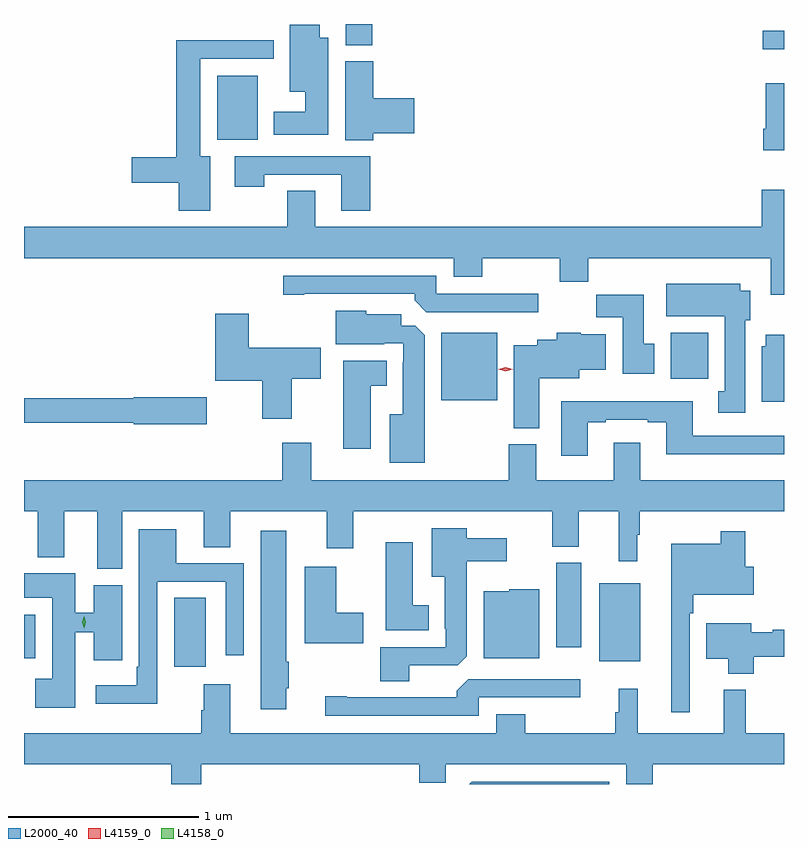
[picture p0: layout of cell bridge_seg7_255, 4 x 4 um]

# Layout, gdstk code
import gdstk
lib = gdstk.Library(unit=1e-6, precision=1e-09)
def R(c, l, rs):  # rectangles x0, y0, x1, y1
    for r in rs: c.add(gdstk.rectangle(r[:2], r[2:], *l))
def P(c, l, *ps):  # polygons
    for p in ps: c.add(gdstk.Polygon(p, *l))
L2000_40 = (2000, 40)
L4158_0 = (4158, 0)
L4159_0 = (4159, 0)

bridge_seg7_255 = lib.new_cell('bridge_seg7_255')
R(bridge_seg7_255, L2000_40, [(169.556,1033.098,169.723,1033.46), (171.794,1033.127,172.009,1033.537), (168.766,1033.142,168.826,1033.372), (171.566,1033.2,171.7,1033.644), (170.963,1034.501,171.256,1034.854), (172.169,1034.612,172.366,1034.854), (169.784,1035.872,169.996,1036.207), (172.653,1036.347,172.766,1036.444), (170.459,1036.369,170.6,1036.48)])
P(bridge_seg7_255, L2000_40, [(170.368,1036.408),(170.323,1036.408),(170.323,1036.477),(170.165,1036.477),(170.165,1036.124),(170.246,1036.124),(170.246,1036.018),(170.081,1036.018),(170.081,1035.896),(170.368,1035.896)],
  [(169.747,1035.784),(169.693,1035.784),(169.693,1036.296),(170.08,1036.296),(170.08,1036.394),(169.568,1036.394),(169.568,1035.779),(169.332,1035.779),(169.332,1035.644),(169.58,1035.644),(169.58,1035.498),(169.747,1035.498)],
  [(170.603,1035.905),(170.821,1035.905),(170.821,1036.088),(170.603,1036.088),(170.603,1036.284),(170.456,1036.284),(170.456,1035.868),(170.603,1035.868)],
  [(172.766,1036.168),(172.67,1036.168),(172.67,1035.928),(172.658,1035.928),(172.658,1035.816),(172.766,1035.816)],
  [(170.588,1035.783),(169.875,1035.783),(169.875,1035.624),(170.031,1035.624),(170.031,1035.687),(170.435,1035.687),(170.435,1035.498),(170.588,1035.498)],
  [(172.766,1035.607),(172.649,1035.607),(172.649,1035.412),(170.299,1035.412),(170.299,1035.602),(170.152,1035.602),(170.152,1035.412),(168.766,1035.412),(168.766,1035.248),(171.029,1035.248),(171.029,1035.149),(171.177,1035.149),(171.177,1035.248),(171.586,1035.248),(171.586,1035.124),(171.737,1035.124),(171.737,1035.248),(172.697,1035.248),(172.697,1035.054),(172.766,1035.054)],
  [(171.472,1035.06),(170.937,1035.06),(170.937,1035.156),(170.13,1035.156),(170.13,1035.055),(170.242,1035.055),(170.242,1035.06),(170.822,1035.06),(170.822,1035.026),(170.883,1034.964),(171.472,1034.964)],
  [(172.561,1034.922),(172.588,1034.922),(172.588,1035.076),(172.537,1035.076),(172.537,1035.112),(172.145,1035.112),(172.145,1034.942),(172.454,1034.942),(172.454,1034.546),(172.421,1034.546),(172.421,1034.433),(172.561,1034.433)],
  [(172.084,1034.796),(172.027,1034.796),(172.027,1035.054),(171.778,1035.054),(171.778,1034.936),(171.917,1034.936),(171.917,1034.64),(172.084,1034.64)],
  [(170.875,1034.843),(170.826,1034.892),(170.752,1034.892),(170.752,1034.953),(170.568,1034.953),(170.568,1034.971),(170.408,1034.971),(170.408,1034.795),(170.663,1034.795),(170.663,1034.799),(170.763,1034.799),(170.763,1034.699),(170.759,1034.699),(170.759,1034.425),(170.69,1034.425),(170.69,1034.171),(170.875,1034.171)],
  [(170.176,1034.614),(170.329,1034.614),(170.329,1034.776),(169.95,1034.776),(169.95,1034.956),(169.772,1034.956),(169.772,1034.603),(170.021,1034.603),(170.021,1034.403),(170.176,1034.403)],
  [(171.478,1034.615),(171.688,1034.615),(171.688,1034.66),(171.829,1034.66),(171.829,1034.848),(171.696,1034.848),(171.696,1034.854),(171.571,1034.854),(171.571,1034.818),(171.467,1034.818),(171.467,1034.788),(171.344,1034.788),(171.344,1034.353),(171.478,1034.353)],
  [(172.766,1034.845),(172.67,1034.845),(172.67,1034.784),(172.649,1034.784),(172.649,1034.492),(172.766,1034.492)],
  [(170.59,1034.576),(170.674,1034.576),(170.674,1034.707),(170.447,1034.707),(170.447,1034.244),(170.59,1034.244)],
  [(169.729,1034.516),(169.344,1034.516),(169.344,1034.51),(168.766,1034.51),(168.766,1034.382),(169.344,1034.382),(169.344,1034.374),(169.729,1034.374)],
  [(171.733,1034.385),(171.829,1034.385),(171.829,1034.397),(172.049,1034.397),(172.049,1034.385),(172.145,1034.385),(172.145,1034.216),(172.766,1034.216),(172.766,1034.313),(172.285,1034.313),(172.285,1034.494),(171.593,1034.494),(171.593,1034.208),(171.733,1034.208)],
  [(169.282,1033.916),(169.712,1033.916),(169.712,1033.726),(169.852,1033.726),(169.852,1033.916),(170.36,1033.916),(170.36,1033.722),(170.5,1033.722),(170.5,1033.916),(171.545,1033.916),(171.545,1033.728),(171.685,1033.728),(171.685,1033.916),(171.896,1033.916),(171.896,1033.653),(171.994,1033.653),(171.994,1033.793),(172.006,1033.793),(172.006,1033.916),(172.766,1033.916),(172.766,1034.08),(172.009,1034.08),(172.009,1034.275),(171.869,1034.275),(171.869,1034.08),(171.463,1034.08),(171.463,1034.268),(171.316,1034.268),(171.316,1034.08),(170.278,1034.08),(170.278,1034.275),(170.126,1034.275),(170.126,1034.08),(168.766,1034.08),(168.766,1033.916),(168.839,1033.916),(168.839,1033.673),(168.979,1033.673),(168.979,1033.916),(169.151,1033.916),(169.151,1033.612),(169.282,1033.612)],
  [(170.794,1033.104),(171.048,1033.104),(171.097,1033.153),(171.097,1033.652),(171.307,1033.652),(171.307,1033.774),(171.097,1033.774),(171.097,1033.825),(170.912,1033.825),(170.912,1033.571),(170.981,1033.571),(170.981,1033.297),(170.985,1033.297),(170.985,1033.2),(170.642,1033.2),(170.642,1033.021),(170.794,1033.021)],
  [(169.467,1033.545),(169.827,1033.545),(169.827,1033.158),(169.923,1033.158),(169.923,1033.641),(169.567,1033.641),(169.567,1033.822),(169.371,1033.822),(169.371,1033.096),(169.359,1033.096),(169.359,1033),(169.143,1033),(169.143,1032.902),(169.467,1032.902)],
  [(170.146,1032.985),(170.159,1032.985),(170.159,1033.124),(170.146,1033.124),(170.146,1033.813),(170.012,1033.813),(170.012,1032.873),(170.146,1032.873)],
  [(172.269,1033.379),(172.289,1033.379),(172.289,1033.475),(172.606,1033.475),(172.606,1033.623),(172.562,1033.623),(172.562,1033.81),(172.434,1033.81),(172.434,1033.744),(172.172,1033.744),(172.172,1032.858),(172.269,1032.858)],
  [(170.896,1033.42),(170.812,1033.42),(170.812,1033.753),(170.669,1033.753),(170.669,1033.289),(170.896,1033.289)],
  [(170.551,1033.382),(170.41,1033.382),(170.41,1033.624),(170.243,1033.624),(170.243,1033.22),(170.551,1033.22)],
  [(169.036,1033.279),(169.133,1033.279),(169.133,1033.131),(169.282,1033.131),(169.282,1033.527),(169.133,1033.527),(169.133,1033.382),(169.036,1033.382),(169.036,1033.588),(168.766,1033.588),(168.766,1033.46),(168.914,1033.46),(168.914,1033.033),(168.824,1033.033),(168.824,1032.881),(169.036,1032.881)],
  [(171.478,1033.504),(171.321,1033.504),(171.321,1033.495),(171.185,1033.495),(171.185,1033.142),(171.478,1033.142)],
  [(172.607,1033.15),(172.766,1033.15),(172.766,1033.292),(172.707,1033.292),(172.707,1033.279),(172.594,1033.279),(172.594,1033.327),(172.358,1033.327),(172.358,1033.139),(172.472,1033.139),(172.472,1033.061),(172.607,1033.061)],
  [(171.159,1032.936),(171.694,1032.936),(171.694,1033.032),(171.105,1033.032),(171.044,1032.97),(171.044,1032.936),(170.464,1032.936),(170.464,1032.941),(170.352,1032.941),(170.352,1032.84),(171.159,1032.84)],
  [(171.935,1032.48),(172.075,1032.48),(172.075,1032.584),(172.766,1032.584),(172.766,1032.748),(172.565,1032.748),(172.565,1032.976),(172.448,1032.976),(172.448,1032.748),(171.995,1032.748),(171.995,1032.982),(171.896,1032.982),(171.896,1032.857),(171.877,1032.857),(171.877,1032.748),(171.404,1032.748),(171.404,1032.847),(171.251,1032.847),(171.251,1032.748),(169.852,1032.748),(169.852,1033.006),(169.712,1033.006),(169.712,1032.869),(169.7,1032.869),(169.7,1032.748),(168.766,1032.748),(168.766,1032.584),(169.54,1032.584),(169.54,1032.48),(169.7,1032.48),(169.7,1032.584),(170.846,1032.584),(170.846,1032.486),(170.985,1032.486),(170.985,1032.584),(171.935,1032.584)],
  [(171.846,1032.492),(171.122,1032.492),(171.11,1032.48),(171.846,1032.48)])
P(bridge_seg7_255, L4158_0, [(169.082,1033.299),(169.082,1033.299),(169.072,1033.331),(169.082,1033.363),(169.082,1033.363),(169.082,1033.363),(169.092,1033.331),(169.082,1033.299)])
P(bridge_seg7_255, L4159_0, [(171.301,1034.653),(171.263,1034.662),(171.263,1034.662),(171.263,1034.662),(171.301,1034.673),(171.339,1034.664),(171.339,1034.663),(171.339,1034.663)])

lib.write_gds('bridge_seg7_255.gds')
